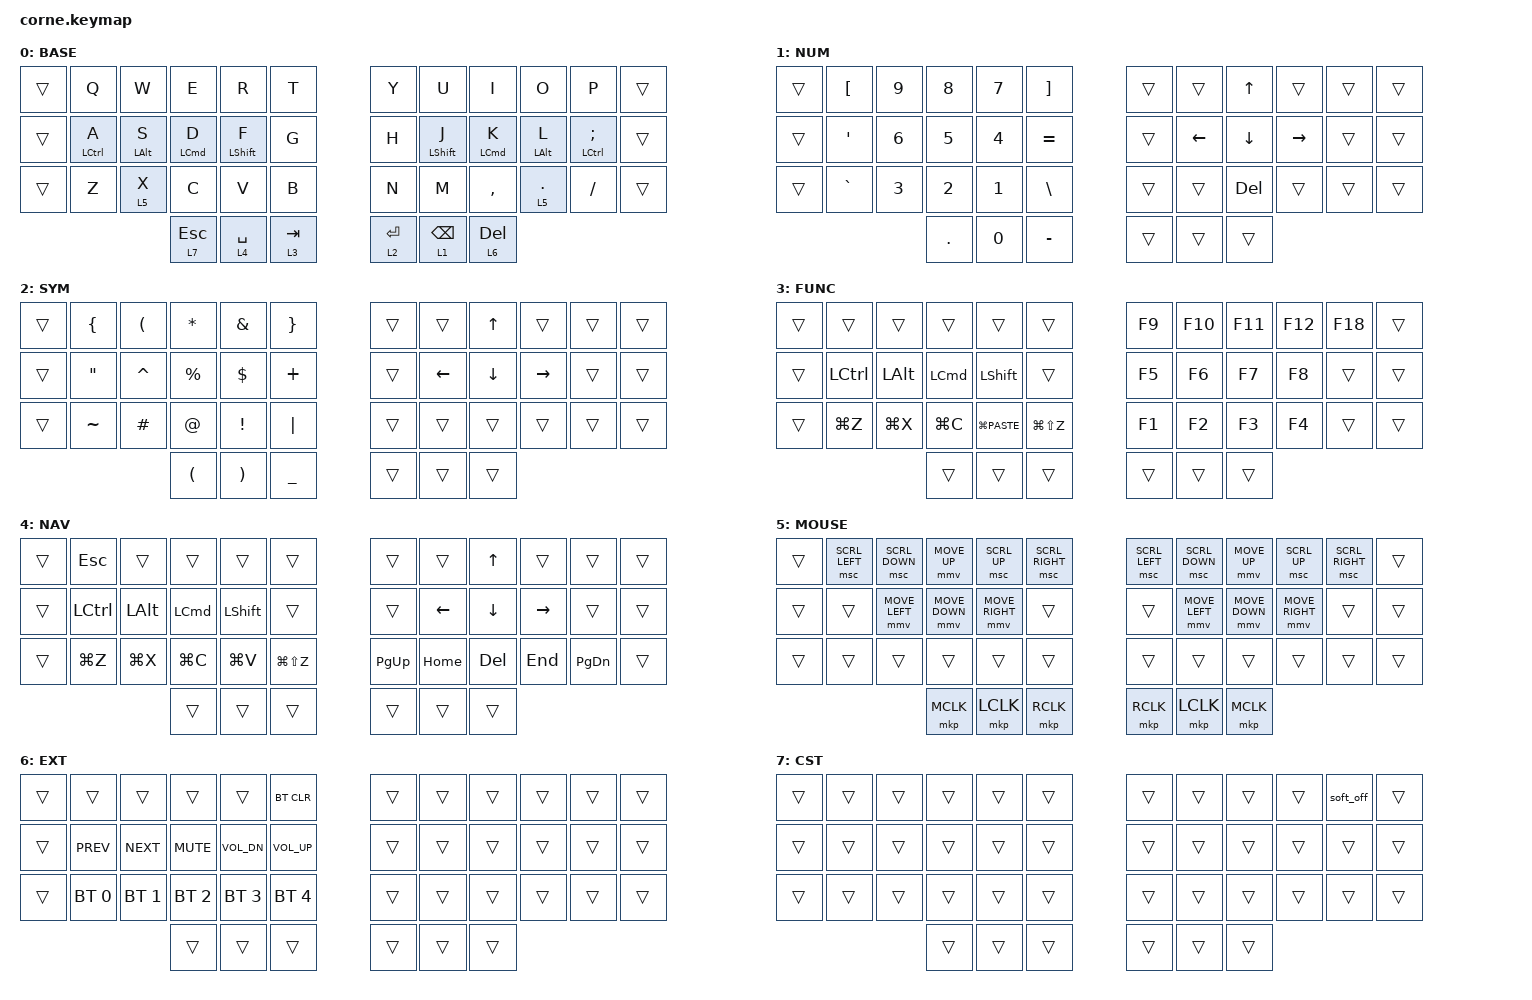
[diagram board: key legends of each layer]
#include <behaviors.dtsi>
#include <dt-bindings/zmk/bt.h>
#include <dt-bindings/zmk/keys.h>
#include <dt-bindings/zmk/pointing.h>
#include <dt-bindings/zmk/pointing.h>
#include <dt-bindings/zmk/pointing.h>

&led_strip {
    chain-length = <0>;

    // chain-length = <27>;
    // 21 backlight + 6 glowlight
};

#define TAPPING_TERM 200

/ {
    behaviors {
        /*
    * td_lock groups locking functions into one key:
    *  - tap once to lock the host
    *  - tap twice to put the host to sleep
    */

        td_lock: tap_dance_lock {
            compatible = "zmk,behavior-tap-dance";
            label = "TAP_DANCE_LOCK";
            #binding-cells = <0>;
            tapping-term-ms = <TAPPING_TERM>;
            bindings = <&kp LG(LC(Q))>, <&kp LG(LA(C_EJECT))>;
        };

        HRM: HRM {
            compatible = "zmk,behavior-hold-tap";
            label = "HRM";
            bindings = <&kp>, <&kp>;

            #binding-cells = <2>;
            tapping-term-ms = <200>;
            quick-tap-ms = <175>;
            flavor = "tap-preferred";
            hold-trigger-key-positions = <0 1 2 3 4 5 6 7 8 9 10 11 12 13 14 15 16 17 18 19 20 21 22 23 24 25 26 27 28 29 30 31 32 33 34 35 36 37 38 39 40 41>;
            hold-trigger-on-release;
        };

        HMLT: HMLT {
            compatible = "zmk,behavior-hold-tap";
            label = "HMLT";
            bindings = <&mo>, <&kp>;

            #binding-cells = <2>;
            tapping-term-ms = <200>;
            quick-tap-ms = <175>;
            flavor = "tap-preferred";
            hold-trigger-on-release;
            hold-trigger-key-positions = <0 1 2 3 4 5 6 7 8 9 10 11 12 13 14 15 16 17 18 19 20 21 22 23 24 25 26 27 28 29 30 31 32 33 34 35 36 37 38 39 40 41>;
        };
    };

    combos {
        compatible = "zmk,combos";

        Capslock {
            bindings = <&kp CLCK>;
            key-positions = <5 6>;
        };

        ctrl_alt_cmd_p {
            bindings = <&kp LA(LC(LG(P)))>;
            key-positions = <15 16>;
        };

        f18c {
            bindings = <&kp F18>;
            key-positions = <19 20>;
        };

        search_key {
            bindings = <&kp LG(LA(LC(F)))>;
            key-positions = <3 4>;
        };

        scroll_key {
            bindings = <&kp LG(LA(LS(J)))>;
            key-positions = <14 15>;
        };
    };

    macros {
        git_status: git_status {
            compatible = "zmk,behavior-macro";
            #binding-cells = <0>;
            bindings = <&kp G &kp I &kp T &kp SPACE &kp S &kp T &kp A &kp T &kp U &kp S>;
            label = "GIT_STATUS";
        };

        git_commit_all: git_commit_all {
            compatible = "zmk,behavior-macro";
            #binding-cells = <0>;
            bindings = <&kp G &kp I &kp T &kp SPACE &kp C &kp O &kp M &kp M &kp I &kp T &kp SPACE &kp MINUS &kp A &kp MINUS &kp M &kp SPACE &kp DQT &kp DQT &kp LEFT_ARROW>;
            label = "GIT_COMMIT";
        };
    };

    keymap {
        compatible = "zmk,keymap";

        base_layer {
            label = "BASE";
            bindings = <
&trans  &kp Q         &kp W        &kp E           &kp R              &kp T          &kp Y          &kp U              &kp I                &kp O            &kp P            &trans
&trans  &HRM LCTRL A  &HRM LALT S  &HRM LCMD D     &HRM LEFT_SHIFT F  &kp G          &kp H          &HRM LEFT_SHIFT J  &HRM LEFT_COMMAND K  &HRM LEFT_ALT L  &HRM LCTRL SEMI  &trans
&trans  &kp Z         &HMLT 5 X    &kp C           &kp V              &kp B          &kp N          &kp M              &kp COMMA            &HMLT 5 DOT      &kp SLASH        &trans
                                   &HMLT 7 ESCAPE  &HMLT 4 SPACE      &HMLT 3 TAB    &HMLT 2 ENTER  &HMLT 1 BACKSPACE  &HMLT 6 DELETE
            >;
        };

        num {
            bindings = <
&trans  &kp LBKT   &kp N9  &kp N8   &kp N7  &kp RBKT     &trans  &trans    &kp UP      &trans     &trans  &trans
&trans  &kp SQT    &kp N6  &kp N5   &kp N4  &kp EQUAL    &trans  &kp LEFT  &kp DOWN    &kp RIGHT  &trans  &trans
&trans  &kp GRAVE  &kp N3  &kp N2   &kp N1  &kp BSLH     &trans  &trans    &kp DELETE  &trans     &trans  &trans
                           &kp DOT  &kp N0  &kp MINUS    &trans  &trans    &trans
            >;

            label = "NUM";
        };

        sym {
            bindings = <
&trans  &kp LBRC   &kp LPAR   &kp STAR   &kp AMPS  &kp RBRC     &trans  &trans    &kp UP    &trans     &trans  &trans
&trans  &kp DQT    &kp CARET  &kp PRCNT  &kp DLLR  &kp PLUS     &trans  &kp LEFT  &kp DOWN  &kp RIGHT  &trans  &trans
&trans  &kp TILDE  &kp POUND  &kp AT     &kp EXCL  &kp PIPE     &trans  &trans    &trans    &trans     &trans  &trans
                              &kp LPAR   &kp RPAR  &kp UNDER    &trans  &trans    &trans
            >;

            label = "SYM";
        };

        func {
            bindings = <
&trans  &trans     &trans        &trans     &trans           &trans           &kp F9  &kp F10  &kp F11  &kp F12  &kp F18  &trans
&trans  &kp LCTRL  &kp LEFT_ALT  &kp LCMD   &kp LSHIFT       &trans           &kp F5  &kp F6   &kp F7   &kp F8   &trans   &trans
&trans  &kp LG(Z)  &kp LG(X)     &kp LG(C)  &kp LG(K_PASTE)  &kp LG(LS(Z))    &kp F1  &kp F2   &kp F3   &kp F4   &trans   &trans
                                 &trans     &trans           &trans           &trans  &trans   &trans
            >;

            label = "FUNC";
        };

        Nav {
            bindings = <
&trans  &kp ESC    &trans        &trans     &trans      &trans           &trans     &trans    &kp UP    &trans     &trans     &trans
&trans  &kp LCTRL  &kp LEFT_ALT  &kp LCMD   &kp LSHIFT  &trans           &trans     &kp LEFT  &kp DOWN  &kp RIGHT  &trans     &trans
&trans  &kp LG(Z)  &kp LG(X)     &kp LG(C)  &kp LG(V)   &kp LG(LS(Z))    &kp PG_UP  &kp HOME  &kp DEL   &kp END    &kp PG_DN  &trans
                                 &trans     &trans      &trans           &trans     &trans    &trans
            >;

            label = "NAV";
        };

        mouse {
            bindings = <
&trans  &msc SCRL_LEFT  &msc SCRL_DOWN  &mmv MOVE_UP    &msc SCRL_UP     &msc SCRL_RIGHT    &msc SCRL_LEFT  &msc SCRL_DOWN  &mmv MOVE_UP    &msc SCRL_UP     &msc SCRL_RIGHT  &trans
&trans  &trans          &mmv MOVE_LEFT  &mmv MOVE_DOWN  &mmv MOVE_RIGHT  &trans             &trans          &mmv MOVE_LEFT  &mmv MOVE_DOWN  &mmv MOVE_RIGHT  &trans           &trans
&trans  &trans          &trans          &trans          &trans           &trans             &trans          &trans          &trans          &trans           &trans           &trans
                                        &mkp MCLK       &mkp LCLK        &mkp RCLK          &mkp RCLK       &mkp LCLK       &mkp MCLK
            >;

            label = "MOUSE";
        };

        extended_layer {
            label = "EXT";
            bindings = <
&trans  &trans        &trans        &trans        &trans        &bt BT_CLR      &trans  &trans  &trans  &trans  &trans  &trans
&trans  &kp K_PREV    &kp K_NEXT    &kp K_MUTE    &kp C_VOL_DN  &kp C_VOL_UP    &trans  &trans  &trans  &trans  &trans  &trans
&trans  &bt BT_SEL 0  &bt BT_SEL 1  &bt BT_SEL 2  &bt BT_SEL 3  &bt BT_SEL 4    &trans  &trans  &trans  &trans  &trans  &trans
                                    &trans        &trans        &trans          &trans  &trans  &trans
            >;
        };

        custom {
            bindings = <
&trans  &trans  &trans  &trans  &trans  &trans    &trans  &trans  &trans  &trans  &soft_off  &trans
&trans  &trans  &trans  &trans  &trans  &trans    &trans  &trans  &trans  &trans  &trans     &trans
&trans  &trans  &trans  &trans  &trans  &trans    &trans  &trans  &trans  &trans  &trans     &trans
                        &trans  &trans  &trans    &trans  &trans  &trans
            >;

            label = "CST";
        };
    };

    conditional_layers {
        compatible = "zmk,conditional-layers";

        Activate_EXT {
            if-layers = <6 6>;
            then-layer = <6>;
        };
    };
};
